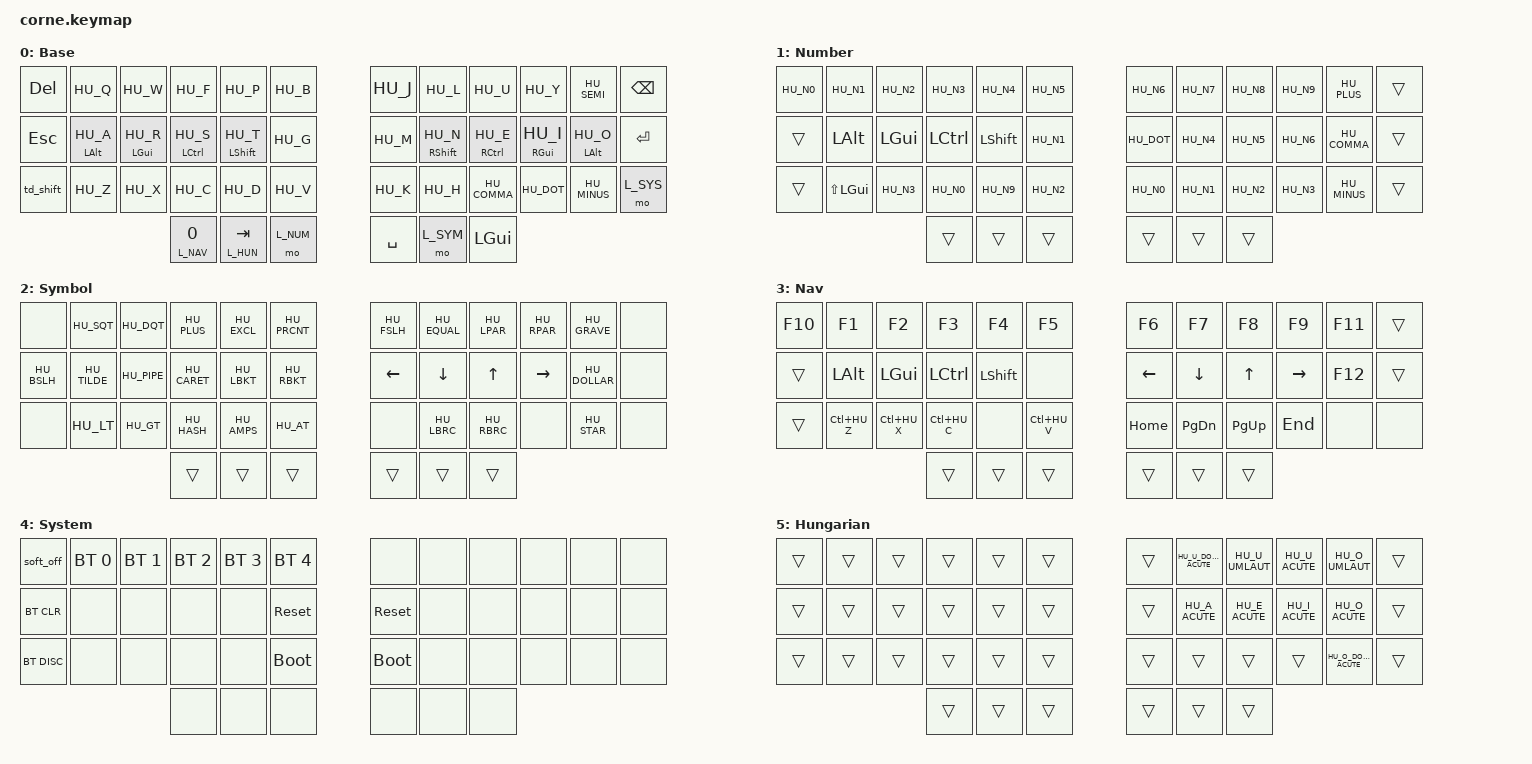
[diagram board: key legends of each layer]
/*
 * Corne (42 keys) keymap: Colemak-DH on top of a Hungarian OS keyboard layout.
 *
 * The computer must be set to the Hungarian layout. Every character is sent as
 * an HU_* keycode from features/keys_hu.h, which is the key that produces that
 * character on a Hungarian layout (e.g. HU_Y is the physical Z key).
 *
 * README.md explains the layers and the special keys.
 *
 * SPDX-License-Identifier: MIT
 */

#include <behaviors.dtsi>
#include <dt-bindings/zmk/keys.h>
#include <dt-bindings/zmk/bt.h>
#include "features/keys_hu.h"

#include "zmk-helpers/helper.h"        // ZMK_HOLD_TAP, ZMK_TAP_DANCE
#include "zmk-helpers/key-labels/42.h" // LT0, RM1, LH0, ... key position names

/* ─── Key positions ──────────────────────────────────────────────────────────

  ╭────────────────────────┬────────────────────────╮ ╭─────────────────────────┬─────────────────────────╮
  │  0   1   2   3   4   5 │  6   7   8   9  10  11 │ │ LT5 LT4 LT3 LT2 LT1 LT0 │ RT0 RT1 RT2 RT3 RT4 RT5 │
  │ 12  13  14  15  16  17 │ 18  19  20  21  22  23 │ │ LM5 LM4 LM3 LM2 LM1 LM0 │ RM0 RM1 RM2 RM3 RM4 RM5 │
  │ 24  25  26  27  28  29 │ 30  31  32  33  34  35 │ │ LB5 LB4 LB3 LB2 LB1 LB0 │ RB0 RB1 RB2 RB3 RB4 RB5 │
  ╰───────────╮ 36  37  38 │ 39  40  41 ╭───────────╯ ╰───────────╮ LH2 LH1 LH0 │ RH0 RH1 RH2 ╭───────────╯
              ╰────────────┴────────────╯                         ╰─────────────┴─────────────╯

  L/R = hand, T/M/B/H = top/middle/bottom/thumb row, number = distance from the center. */

#define KEYS_L LT0 LT1 LT2 LT3 LT4 LT5 LM0 LM1 LM2 LM3 LM4 LM5 LB0 LB1 LB2 LB3 LB4 LB5
#define KEYS_R RT0 RT1 RT2 RT3 RT4 RT5 RM0 RM1 RM2 RM3 RM4 RM5 RB0 RB1 RB2 RB3 RB4 RB5
#define THUMBS LH2 LH1 LH0 RH0 RH1 RH2

/* ─── Layers ─────────────────────────────────────────────────────────────────
   The numbers must follow the order of the layers in the keymap below. */

#define L_BASE 0
#define L_NUM  1
#define L_SYM  2
#define L_NAV  3
#define L_SYS  4
#define L_HUN  5

#define ___ &trans // falls through to the layer below
#define XXX &none  // does nothing

/* ─── Home row mods ──────────────────────────────────────────────────────────
   Based on urob's "timeless" home row mods:
   - A mod only activates when the next key is on the OTHER hand or a thumb,
     so rolls within one hand always type letters. For mod + same-hand key,
     use the other hand's mod.
   - require-prior-idle: pressed right after another key, it is always a letter.
   - quick-tap: tap then hold repeats the letter instead of holding the mod. */

#define MAKE_HRM(NAME, TRIGGER_POS)              \
    ZMK_HOLD_TAP(NAME,                           \
        flavor = "balanced";                     \
        tapping-term-ms = <280>;                 \
        quick-tap-ms = <175>;                    \
        require-prior-idle-ms = <150>;           \
        bindings = <&kp>, <&kp>;                 \
        hold-trigger-key-positions = <TRIGGER_POS>; \
        hold-trigger-on-release;                 \
    )

MAKE_HRM(hml, KEYS_R THUMBS) // left hand
MAKE_HRM(hmr, KEYS_L THUMBS) // right hand

/* ─── Thumb keys ───────────────────────────────────────────────────────────── */

/* Left outer thumb: Repeat on tap, NAV layer on hold.
   No positional check, so the left-hand NAV keys work.
   Right after another key it is always Repeat (doubling letters mid-word). */
ZMK_HOLD_TAP(lt_rep,
    flavor = "balanced";
    tapping-term-ms = <200>;
    quick-tap-ms = <175>;
    require-prior-idle-ms = <150>;
    bindings = <&mo>, <&key_repeat>;
)

/* Left middle thumb: Tab on tap, HUN accent layer on hold.
   hold-preferred + right-hand trigger keys: pressing an accent key while
   holding always gives the accent, whatever order the keys are released in.
   No require-prior-idle, because accents are typed mid-word. */
ZMK_HOLD_TAP(lt_hun,
    flavor = "hold-preferred";
    tapping-term-ms = <280>;
    quick-tap-ms = <175>;
    bindings = <&mo>, <&kp>;
    hold-trigger-key-positions = <KEYS_R>;
)

/* ─── Shift key (bottom left) ────────────────────────────────────────────────
   hold: Shift, tap: Caps Word, double tap: Caps Lock. */

ZMK_HOLD_TAP(shift_cw,
    flavor = "hold-preferred";
    tapping-term-ms = <200>;
    bindings = <&kp>, <&caps_word>;
)

/* Caps Lock is there because Caps Word only capitalizes A-Z, not á é ő ... */
ZMK_TAP_DANCE(td_shift,
    tapping-term-ms = <200>;
    bindings = <&shift_cw LSHIFT 0>, <&kp CAPS>;
)

/* The default list assumes a US layout; keep Caps Word on for the Hungarian -/_ key. */
&caps_word {
    continue-list = <HU_MINUS BSPC DEL>;
};

/* ─── System ───────────────────────────────────────────────────────────────── */

&soft_off {
    hold-time-ms = <5000>; // only turn off if held for 5 seconds
};

/* ─── Keymap ───────────────────────────────────────────────────────────────── */

/ {
    keymap {
        compatible = "zmk,keymap";

        /* Colemak-DH. Home row mods: Alt GUI Ctrl Shift | Shift Ctrl GUI Alt.
           Thumbs: Repeat/NAV, Tab/HUN, NUM | Space, SYM, Super. */
        base_layer {
            display-name = "Base";
            bindings = <
// ╭───────────┬────────────────┬────────────────┬─────────────────┬───────────────────┬───────────╮   ╭───────────┬──────────────────┬─────────────────┬────────────────┬────────────────┬───────────╮
     &kp DEL     &kp HU_Q         &kp HU_W         &kp HU_F          &kp HU_P            &kp HU_B        &kp HU_J    &kp HU_L           &kp HU_U          &kp HU_Y         &kp HU_SEMI      &kp BSPC
// ├───────────┼────────────────┼────────────────┼─────────────────┼───────────────────┼───────────┤   ├───────────┼──────────────────┼─────────────────┼────────────────┼────────────────┼───────────┤
     &kp ESC     &hml LALT HU_A   &hml LGUI HU_R   &hml LCTRL HU_S   &hml LSHIFT HU_T    &kp HU_G        &kp HU_M    &hmr RSHIFT HU_N   &hmr RCTRL HU_E   &hmr RGUI HU_I   &hmr LALT HU_O   &kp RET
// ├───────────┼────────────────┼────────────────┼─────────────────┼───────────────────┼───────────┤   ├───────────┼──────────────────┼─────────────────┼────────────────┼────────────────┼───────────┤
     &td_shift   &kp HU_Z         &kp HU_X         &kp HU_C          &kp HU_D            &kp HU_V        &kp HU_K    &kp HU_H           &kp HU_COMMA      &kp HU_DOT       &kp HU_MINUS     &mo L_SYS
// ╰───────────┴────────────────┴────────────────┼─────────────────┼───────────────────┼───────────┤   ├───────────┼──────────────────┼─────────────────┼────────────────┴────────────────┴───────────╯
                                                   &lt_rep L_NAV 0   &lt_hun L_HUN TAB   &mo L_NUM       &kp SPACE   &mo L_SYM          &kp LGUI
//                                               ╰─────────────────┴───────────────────┴───────────╯   ╰───────────┴──────────────────┴─────────────────╯
            >;
        };

        /* Top row: the Hungarian number row (0 is left of 1).
           Right: numpad with + . , - around it.
           Left: plain mods and extra digits, so Meta/Ctrl/Alt + digit works
           with the left hand only (mouse in the right). The key under the
           pinky is GUI+Shift, for "move window to desktop N". */
        number_layer {
            display-name = "Number";
            bindings = <
// ╭───────────┬──────────────┬───────────┬───────────┬────────────┬───────────╮   ╭────────────┬───────────┬───────────┬───────────┬──────────────┬─────╮
     &kp HU_N0   &kp HU_N1      &kp HU_N2   &kp HU_N3   &kp HU_N4    &kp HU_N5       &kp HU_N6    &kp HU_N7   &kp HU_N8   &kp HU_N9   &kp HU_PLUS    ___
// ├───────────┼──────────────┼───────────┼───────────┼────────────┼───────────┤   ├────────────┼───────────┼───────────┼───────────┼──────────────┼─────┤
     ___         &kp LALT       &kp LGUI    &kp LCTRL   &kp LSHIFT   &kp HU_N1       &kp HU_DOT   &kp HU_N4   &kp HU_N5   &kp HU_N6   &kp HU_COMMA   ___
// ├───────────┼──────────────┼───────────┼───────────┼────────────┼───────────┤   ├────────────┼───────────┼───────────┼───────────┼──────────────┼─────┤
     ___         &kp LS(LGUI)   &kp HU_N3   &kp HU_N0   &kp HU_N9    &kp HU_N2       &kp HU_N0    &kp HU_N1   &kp HU_N2   &kp HU_N3   &kp HU_MINUS   ___
// ╰───────────┴──────────────┴───────────┼───────────┼────────────┼───────────┤   ├────────────┼───────────┼───────────┼───────────┴──────────────┴─────╯
                                            ___         ___          ___             ___          ___         ___
//                                        ╰───────────┴────────────┴───────────╯   ╰────────────┴───────────┴───────────╯
            >;
        };

        /* Top row: what Shift + the number row types on a Hungarian keyboard.
           Brackets sit where a Hungarian keyboard has them. Arrows on m n e i. */
        symbol_layer {
            display-name = "Symbol";
            bindings = <
// ╭─────────────┬──────────────┬─────────────┬──────────────┬─────────────┬──────────────╮   ╭─────────────┬──────────────┬─────────────┬─────────────┬───────────────┬─────╮
     XXX           &kp HU_SQT     &kp HU_DQT    &kp HU_PLUS    &kp HU_EXCL   &kp HU_PRCNT       &kp HU_FSLH   &kp HU_EQUAL   &kp HU_LPAR   &kp HU_RPAR   &kp HU_GRAVE    XXX
// ├─────────────┼──────────────┼─────────────┼──────────────┼─────────────┼──────────────┤   ├─────────────┼──────────────┼─────────────┼─────────────┼───────────────┼─────┤
     &kp HU_BSLH   &kp HU_TILDE   &kp HU_PIPE   &kp HU_CARET   &kp HU_LBKT   &kp HU_RBKT        &kp LEFT      &kp DOWN       &kp UP        &kp RIGHT     &kp HU_DOLLAR   XXX
// ├─────────────┼──────────────┼─────────────┼──────────────┼─────────────┼──────────────┤   ├─────────────┼──────────────┼─────────────┼─────────────┼───────────────┼─────┤
     XXX           &kp HU_LT      &kp HU_GT     &kp HU_HASH    &kp HU_AMPS   &kp HU_AT          XXX           &kp HU_LBRC    &kp HU_RBRC   XXX           &kp HU_STAR     XXX
// ╰─────────────┴──────────────┴─────────────┼──────────────┼─────────────┼──────────────┤   ├─────────────┼──────────────┼─────────────┼─────────────┴───────────────┴─────╯
                                                ___            ___           ___                ___           ___            ___
//                                            ╰──────────────┴─────────────┴──────────────╯   ╰─────────────┴──────────────┴─────────────╯
            >;
        };

        /* Fn is on the same key as digit n on the number layer.
           Arrows with Home PgDn PgUp End below them; plain mods on the left,
           plus undo/cut/copy/paste on z x c v for one-handed use. */
        nav_layer {
            display-name = "Nav";
            bindings = <
// ╭─────────┬──────────────┬──────────────┬──────────────┬────────────┬──────────────╮   ╭──────────┬───────────┬───────────┬───────────┬─────────┬─────╮
     &kp F10   &kp F1         &kp F2         &kp F3         &kp F4       &kp F5             &kp F6     &kp F7      &kp F8      &kp F9      &kp F11   ___
// ├─────────┼──────────────┼──────────────┼──────────────┼────────────┼──────────────┤   ├──────────┼───────────┼───────────┼───────────┼─────────┼─────┤
     ___       &kp LALT       &kp LGUI       &kp LCTRL      &kp LSHIFT   XXX                &kp LEFT   &kp DOWN    &kp UP      &kp RIGHT   &kp F12   ___
// ├─────────┼──────────────┼──────────────┼──────────────┼────────────┼──────────────┤   ├──────────┼───────────┼───────────┼───────────┼─────────┼─────┤
     ___       &kp LC(HU_Z)   &kp LC(HU_X)   &kp LC(HU_C)   XXX          &kp LC(HU_V)       &kp HOME   &kp PG_DN   &kp PG_UP   &kp END     XXX       XXX
// ╰─────────┴──────────────┴──────────────┼──────────────┼────────────┼──────────────┤   ├──────────┼───────────┼───────────┼───────────┴─────────┴─────╯
                                             ___            ___          ___                ___        ___         ___
//                                         ╰──────────────┴────────────┴──────────────╯   ╰──────────┴───────────┴───────────╯
            >;
        };

        /* Bluetooth, soft off (hold 5 s), reset and bootloader.
           Reset and bootloader are on both halves: each half is flashed separately. */
        system_layer {
            display-name = "System";
            bindings = <
// ╭─────────────┬──────────────┬──────────────┬──────────────┬──────────────┬──────────────╮   ╭─────────────┬─────┬─────┬─────┬─────┬─────╮
     &soft_off     &bt BT_SEL 0   &bt BT_SEL 1   &bt BT_SEL 2   &bt BT_SEL 3   &bt BT_SEL 4       XXX           XXX   XXX   XXX   XXX   XXX
// ├─────────────┼──────────────┼──────────────┼──────────────┼──────────────┼──────────────┤   ├─────────────┼─────┼─────┼─────┼─────┼─────┤
     &bt BT_CLR    XXX            XXX            XXX            XXX            &sys_reset         &sys_reset    XXX   XXX   XXX   XXX   XXX
// ├─────────────┼──────────────┼──────────────┼──────────────┼──────────────┼──────────────┤   ├─────────────┼─────┼─────┼─────┼─────┼─────┤
     &bt BT_DISC   XXX            XXX            XXX            XXX            &bootloader        &bootloader   XXX   XXX   XXX   XXX   XXX
// ╰─────────────┴──────────────┴──────────────┼──────────────┼──────────────┼──────────────┤   ├─────────────┼─────┼─────┼─────┴─────┴─────╯
                                                 XXX            XXX            XXX                XXX           XXX   XXX
//                                             ╰──────────────┴──────────────┴──────────────╯   ╰─────────────┴─────┴─────╯
            >;
        };

        /* Hungarian accents, grouped by vowel: ű ü ú on the top row, é í ó on
           their letters, á on the index key, ő under ó, ö above it.
           All other keys fall through, so rolling out of an accent still types
           the next letter or space. */
        hun_layer {
            display-name = "Hungarian";
            bindings = <
// ╭─────┬─────┬─────┬─────┬─────┬─────╮   ╭─────┬───────────────────────┬─────────────────┬────────────────┬───────────────────────┬─────╮
     ___   ___   ___   ___   ___   ___       ___   &kp HU_U_DOUBLE_ACUTE   &kp HU_U_UMLAUT   &kp HU_U_ACUTE   &kp HU_O_UMLAUT         ___
// ├─────┼─────┼─────┼─────┼─────┼─────┤   ├─────┼───────────────────────┼─────────────────┼────────────────┼───────────────────────┼─────┤
     ___   ___   ___   ___   ___   ___       ___   &kp HU_A_ACUTE          &kp HU_E_ACUTE    &kp HU_I_ACUTE   &kp HU_O_ACUTE          ___
// ├─────┼─────┼─────┼─────┼─────┼─────┤   ├─────┼───────────────────────┼─────────────────┼────────────────┼───────────────────────┼─────┤
     ___   ___   ___   ___   ___   ___       ___   ___                     ___               ___              &kp HU_O_DOUBLE_ACUTE   ___
// ╰─────┴─────┴─────┼─────┼─────┼─────┤   ├─────┼───────────────────────┼─────────────────┼────────────────┴───────────────────────┴─────╯
                       ___   ___   ___       ___   ___                     ___
//                   ╰─────┴─────┴─────╯   ╰─────┴───────────────────────┴─────────────────╯
            >;
        };
    };
};

// vim: set nowrap:
